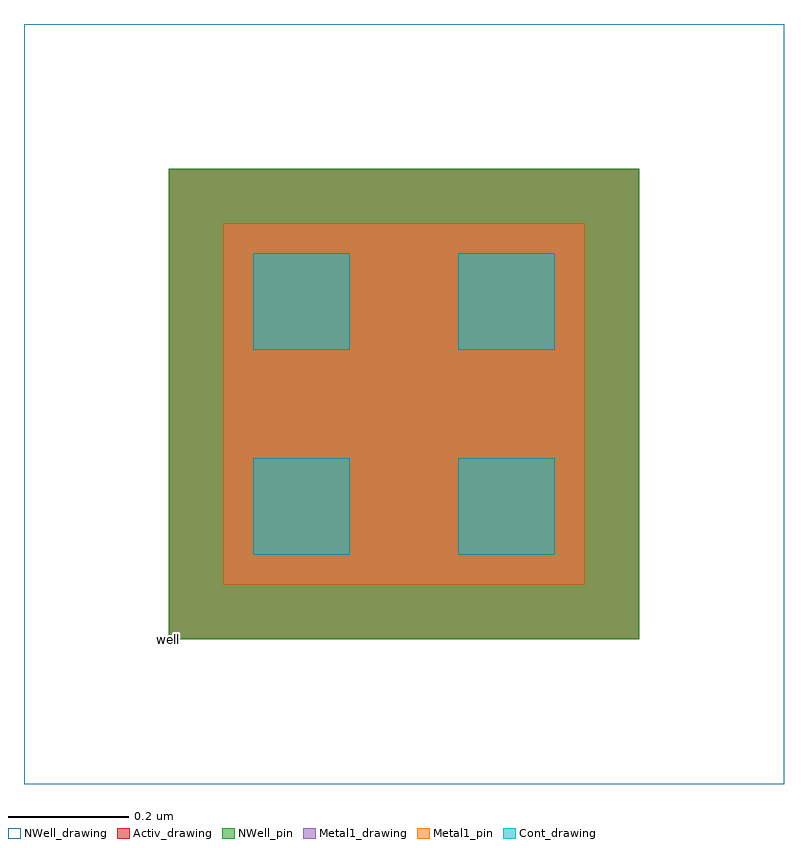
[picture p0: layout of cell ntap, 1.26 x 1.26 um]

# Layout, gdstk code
import gdstk
lib = gdstk.Library(unit=1e-6, precision=1e-09)
def R(c, l, rs):  # rectangles x0, y0, x1, y1
    for r in rs: c.add(gdstk.rectangle(r[:2], r[2:], *l))
Activ_drawing = (1, 0)
Cont_drawing = (6, 0)
Metal1_drawing = (8, 0)
Metal1_pin = (8, 2)
NWell_drawing = (31, 0)
NWell_pin = (31, 2)

ntap = lib.new_cell('ntap')
R(ntap, Activ_drawing, [(0,0,0.78,0.78)])
R(ntap, Cont_drawing, [(0.14,0.14,0.3,0.3), (0.48,0.14,0.64,0.3), (0.14,0.48,0.3,0.64), (0.48,0.48,0.64,0.64)])
R(ntap, Metal1_drawing, [(0.09,0.09,0.69,0.69)])
R(ntap, Metal1_pin, [(0.09,0.09,0.69,0.69)])
R(ntap, NWell_drawing, [(-0.24,-0.24,1.02,1.02)])
R(ntap, NWell_pin, [(0,0,0.78,0.78)])
ntap.add(gdstk.Label('well', (0,0), layer=63, texttype=0))

lib.write_gds('ntap.gds')
